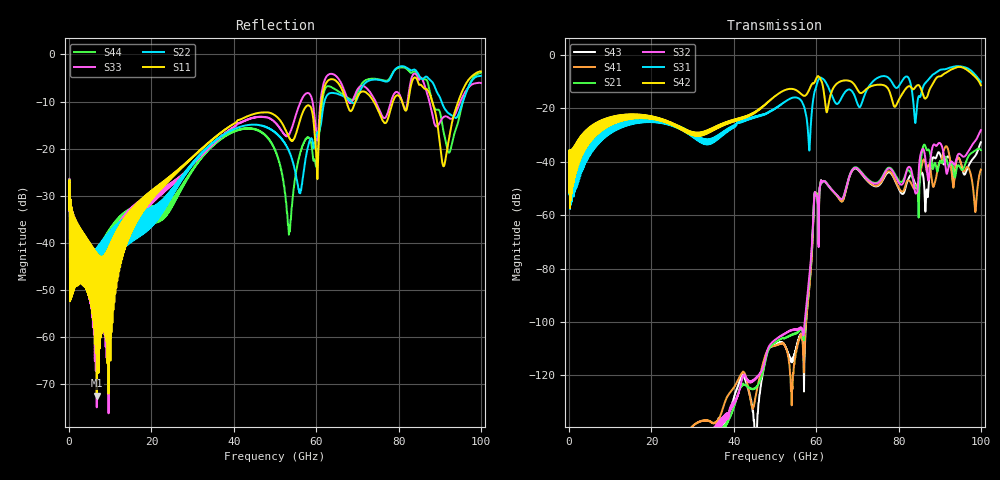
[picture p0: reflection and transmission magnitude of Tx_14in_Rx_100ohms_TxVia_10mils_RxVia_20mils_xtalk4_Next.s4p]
! Info: Touchstone file created by Circ.  Input file=Tx_14in_Rx_100ohms_TxVia_10mils_RxVia_20mils.circ
# Hz S RI R 50
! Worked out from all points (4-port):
!   10000 points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, 10 MHz to 100 GHz, reference 50 ohm
!   strongest paths, dB at 10 MHz, 25.01 GHz, 50.01 GHz, 75.01 GHz, 100 GHz:
!     S42: -51.6, -26.2, -15.4, -11.1, -11.3
!     S31: -52.2, -26.5, -20.0, -8.5, -10.1
!     S32: -, -169.9, -106.7, -47.9, -28.1
!     S21: -, -167.7, -107.7, -47.6, -35.6
!     S41: -154.8, -152.2, -108.8, -48.8, -42.9
!     S43: -155.5, -156.1, -108.5, -49.1, -32.7
!   lowest |S11| = -72.4 dB at 6.73 GHz (marker M1), VSWR 1.00, Z = 50 - j0.0147 ohm
!   |S11| at or under -10 dB: start of sweep to 61.28 GHz; 73.97 GHz to 78.64 GHz (4.665 GHz wide, 6.11 % of centre); 88.17 GHz to 94.51 GHz (6.335 GHz wide, 6.94 % of centre)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
1e7  0.0209 0.00807  7.27e-12 -1.18e-11  0.000486 0.00242  -6.12e-09 1.72e-08
     7.27e-12 -1.18e-11  0.0216 0.00809  4.79e-12 -1.27e-11  0.000973 0.00245
     0.000486 0.00242  4.79e-12 -1.27e-11  0.0202 0.00852  -3.81e-09 1.64e-08
     -6.12e-09 1.72e-08  0.000973 0.00245  -3.81e-09 1.64e-08  0.0214 0.00813
6.73e9  0.00019 -0.000146  -2.39e-10 -3.52e-10  0.0176 0.0317  1.52e-10 2.99e-10
        -2.39e-10 -3.52e-10  0.00784 0.00414  -6.72e-10 -8.14e-10  0.0285 0.0331
        0.0176 0.0317  -6.72e-10 -8.14e-10  7.57e-05 0.000164  3.74e-10 -1.23e-10
        1.52e-10 2.99e-10  0.0285 0.0331  3.74e-10 -1.23e-10  0.00697 0.00442
5.806e10  0.1586 -0.2416  2.98e-05 2.2e-05  0.0226 0.0245  1.7e-05 2.01e-05
          2.98e-05 2.2e-05  -0.0666 0.0847  3.58e-05 2.37e-05  0.121 0.165
          0.0226 0.0245  3.58e-05 2.37e-05  0.2507 -0.2983  2.01e-05 2.12e-05
          1.7e-05 2.01e-05  0.121 0.165  2.01e-05 2.12e-05  -0.1324 -0.00566
6.155e10  0.3262 -0.1787  -0.00411 -0.000998  0.3159 0.1769  -0.00412 -0.000875
          -0.00411 -0.000998  -0.1652 -0.1832  -0.00415 -0.00084  0.0829 -0.2658
          0.3159 0.1769  -0.00415 -0.00084  0.3568 -0.2563  -0.00415 -0.000711
          -0.00412 -0.000875  0.0829 -0.2658  -0.00415 -0.000711  -0.2636 -0.2007
8.043e10  0.1744 0.301  0.000479 0.0042  -0.0401 -0.2864  0.000677 0.00286
          0.000479 0.0042  -0.0906 -0.7406  0.000893 0.00367  -0.1575 0.0396
          -0.0401 -0.2864  0.000893 0.00367  0.1716 0.318  0.000932 0.00258
          0.000677 0.00286  -0.1575 0.0396  0.000932 0.00258  -0.0572 -0.7238
9.098e10  0.00652 0.0648  0.00813 0.00814  0.5364 -0.0115  0.0155 -0.0048
          0.00813 0.00814  0.1669 0.2211  -0.00747 0.0117  0.4399 -0.011
          0.5364 -0.0115  -0.00747 0.0117  0.1707 0.1342  0.00224 0.00863
          0.0155 -0.0048  0.4399 -0.011  0.00224 0.00863  0.087 0.1194
1e11  -0.6579 0.0575  -0.00845 0.0143  0.0543 0.3088  0.00698 0.0016
      -0.00845 0.0143  -0.591 0.0387  -0.0218 -0.0326  0.0989 0.2526
      0.0543 0.3088  -0.0218 -0.0326  -0.4937 0.0607  -0.0207 0.0104
      0.00698 0.0016  0.0989 0.2526  -0.0207 0.0104  -0.6321 0.0866
